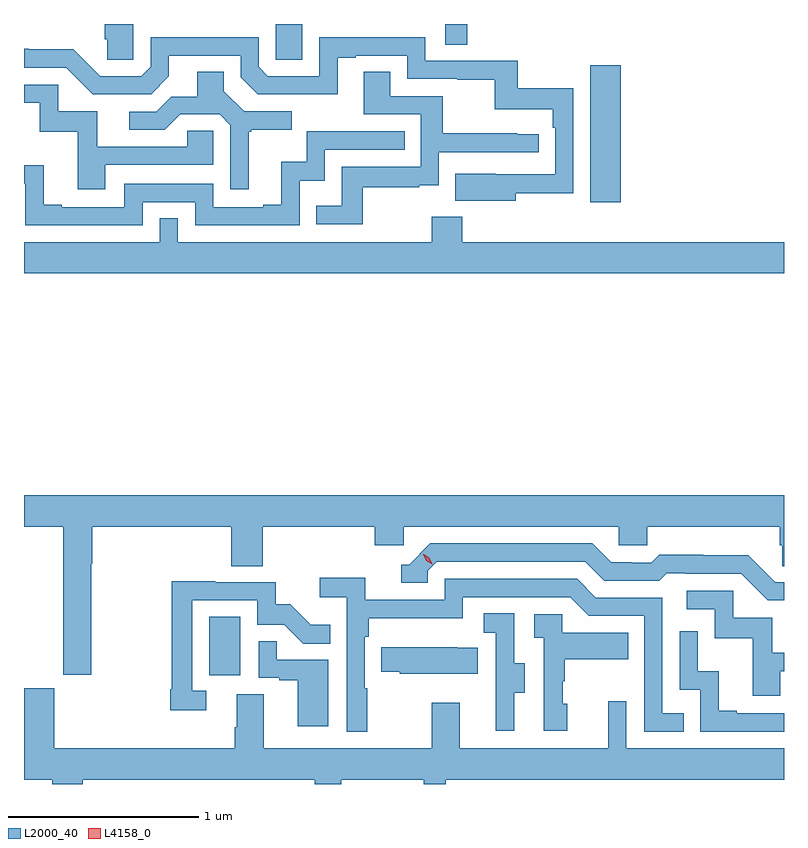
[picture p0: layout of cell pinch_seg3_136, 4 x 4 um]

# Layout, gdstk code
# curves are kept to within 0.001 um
import gdstk
lib = gdstk.Library(unit=1e-6, precision=1e-09)
def R(c, l, rs):  # rectangles x0, y0, x1, y1
    for r in rs: c.add(gdstk.rectangle(r[:2], r[2:], *l))
def P(c, l, *ps):  # polygons
    for p in ps: c.add(gdstk.Polygon(p, *l))
L2000_40 = (2000, 40)
L4158_0 = (4158, 0)

pinch_seg3_136 = lib.new_cell('pinch_seg3_136')
R(pinch_seg3_136, L2000_40, [(1117.478,718.782,1117.642,719.089), (1119.485,721.272,1119.646,721.993), (1117.83,722.02,1117.969,722.209), (1118.721,722.101,1118.837,722.209)])
P(pinch_seg3_136, L2000_40, [(1117.08,722.209),(1116.929,722.209),(1116.929,722.13),(1116.943,722.13),(1116.943,722.02),(1117.08,722.02)],
  [(1119.091,721.318),(1119.396,721.318),(1119.396,721.87),(1119.103,721.87),(1119.103,722.016),(1118.616,722.016),(1118.616,722.139),(1118.058,722.139),(1118.058,721.935),(1117.788,721.935),(1117.74,721.983),(1117.74,722.139),(1117.17,722.139),(1117.17,721.983),(1117.122,721.935),(1116.906,721.935),(1116.764,722.077),(1116.528,722.077),(1116.528,722.08),(1116.504,722.08),(1116.504,721.98),(1116.726,721.98),(1116.867,721.839),(1117.173,721.839),(1117.267,721.933),(1117.267,722.043),(1117.644,722.043),(1117.644,721.929),(1117.734,721.839),(1118.155,721.838),(1118.155,722.031),(1118.251,722.031),(1118.251,722.043),(1118.52,722.043),(1118.52,721.92),(1118.785,721.92),(1118.785,721.915),(1118.982,721.915),(1118.982,721.76),(1119.287,721.76),(1119.287,721.664),(1119.3,721.664),(1119.3,721.419),(1118.773,721.42),(1118.773,721.28),(1119.091,721.28)],
  [(1118.287,721.35),(1118.585,721.35),(1118.585,721.361),(1118.688,721.361),(1118.688,721.533),(1119.214,721.533),(1119.214,721.629),(1119.101,721.629),(1119.101,721.634),(1118.708,721.634),(1118.708,721.83),(1118.431,721.83),(1118.431,721.958),(1118.291,721.958),(1118.291,721.734),(1118.592,721.734),(1118.592,721.458),(1118.176,721.458),(1118.176,721.252),(1118.041,721.252),(1118.041,721.155),(1118.287,721.155)],
  [(1117.687,721.641),(1117.699,721.641),(1117.699,721.652),(1117.912,721.652),(1117.912,721.749),(1117.662,721.749),(1117.555,721.856),(1117.555,721.958),(1117.415,721.958),(1117.415,721.826),(1117.28,721.826),(1117.2,721.746),(1117.059,721.746),(1117.059,721.653),(1117.246,721.653),(1117.327,721.734),(1117.533,721.734),(1117.59,721.677),(1117.59,721.338),(1117.687,721.338)],
  [(1116.931,721.467),(1117.5,721.467),(1117.5,721.647),(1117.363,721.647),(1117.363,721.563),(1116.889,721.563),(1116.889,721.749),(1116.684,721.749),(1116.684,721.89),(1116.504,721.89),(1116.504,721.794),(1116.588,721.794),(1116.588,721.641),(1116.787,721.641),(1116.787,721.338),(1116.931,721.338)],
  [(1117.128,721.272),(1117.404,721.272),(1117.404,721.149),(1117.956,721.149),(1117.956,721.385),(1118.088,721.385),(1118.088,721.548),(1118.507,721.548),(1118.507,721.644),(1117.992,721.644),(1117.992,721.483),(1117.859,721.483),(1117.859,721.258),(1117.763,721.258),(1117.763,721.245),(1117.5,721.245),(1117.5,721.368),(1117.032,721.368),(1117.032,721.245),(1116.703,721.245),(1116.703,721.258),(1116.608,721.258),(1116.608,721.466),(1116.504,721.466),(1116.504,721.368),(1116.51,721.368),(1116.51,721.149),(1117.128,721.149)],
  [(1120.504,721.06),(1118.81,721.06),(1118.81,721.195),(1118.65,721.195),(1118.65,721.06),(1117.314,721.06),(1117.314,721.187),(1117.218,721.187),(1117.218,721.06),(1116.504,721.06),(1116.504,720.896),(1120.504,720.896)],
  [(1116.858,719.368),(1116.863,719.368),(1116.863,719.564),(1117.595,719.564),(1117.595,719.356),(1117.76,719.356),(1117.76,719.564),(1118.351,719.564),(1118.351,719.466),(1118.502,719.466),(1118.502,719.564),(1119.633,719.564),(1119.633,719.466),(1119.783,719.466),(1119.783,719.564),(1120.481,719.564),(1120.481,719.466),(1120.495,719.466),(1120.495,719.356),(1120.504,719.356),(1120.504,719.728),(1116.504,719.728),(1116.504,719.564),(1116.71,719.564),(1116.71,718.785),(1116.858,718.785)],
  [(1120.504,719.271),(1120.458,719.271),(1120.316,719.413),(1120.08,719.413),(1120.08,719.416),(1119.847,719.416),(1119.805,719.373),(1119.702,719.373),(1119.702,719.376),(1119.595,719.376),(1119.496,719.475),(1118.643,719.475),(1118.532,719.364),(1118.489,719.364),(1118.489,719.268),(1118.628,719.268),(1118.628,719.331),(1118.676,719.379),(1119.459,719.379),(1119.558,719.28),(1119.847,719.28),(1119.886,719.319),(1119.985,719.319),(1119.985,719.316),(1120.278,719.316),(1120.419,719.175),(1120.504,719.175)],
  [(1118.311,718.712),(1118.298,718.712),(1118.298,718.985),(1118.318,718.985),(1118.318,719.081),(1118.814,719.081),(1118.814,719.193),(1119.378,719.193),(1119.477,719.094),(1119.768,719.094),(1119.768,718.485),(1119.977,718.485),(1119.977,718.581),(1119.864,718.581),(1119.864,719.19),(1119.514,719.19),(1119.415,719.289),(1118.718,719.289),(1118.718,719.178),(1118.3,719.178),(1118.3,719.294),(1118.061,719.294),(1118.061,719.192),(1118.202,719.192),(1118.202,718.485),(1118.311,718.485)],
  [(1117.462,718.701),(1117.389,718.701),(1117.389,719.175),(1117.731,719.175),(1117.731,719.046),(1117.875,719.046),(1117.973,718.948),(1118.117,718.948),(1118.117,719.047),(1118.013,719.047),(1117.906,719.154),(1117.83,719.154),(1117.83,719.271),(1117.511,719.271),(1117.511,719.276),(1117.281,719.276),(1117.281,718.708),(1117.273,718.708),(1117.273,718.596),(1117.462,718.596)],
  [(1120.483,718.803),(1120.504,718.803),(1120.504,718.899),(1120.441,718.899),(1120.441,719.085),(1120.236,719.085),(1120.236,719.226),(1119.993,719.226),(1119.993,719.13),(1120.14,719.13),(1120.14,718.977),(1120.339,718.977),(1120.339,718.674),(1120.483,718.674)],
  [(1119.085,718.69),(1119.139,718.69),(1119.139,718.845),(1119.084,718.845),(1119.084,719.108),(1118.925,719.108),(1118.925,719.005),(1118.988,719.005),(1118.988,718.701),(1118.987,718.701),(1118.987,718.488),(1119.085,718.488)],
  [(1119.364,718.632),(1119.339,718.632),(1119.339,718.751),(1119.349,718.751),(1119.349,718.865),(1119.683,718.865),(1119.683,719.005),(1119.336,719.005),(1119.336,719.103),(1119.189,719.103),(1119.189,718.979),(1119.24,718.979),(1119.24,718.488),(1119.364,718.488)],
  [(1120.504,718.581),(1120.255,718.581),(1120.255,718.594),(1120.16,718.594),(1120.16,718.802),(1120.05,718.802),(1120.05,719.014),(1119.954,719.014),(1119.954,718.704),(1120.062,718.704),(1120.062,718.485),(1120.504,718.485)],
  [(1118.104,718.863),(1117.835,718.863),(1117.835,718.961),(1117.74,718.961),(1117.74,718.767),(1117.847,718.767),(1117.847,718.755),(1117.946,718.755),(1117.946,718.512),(1118.104,718.512)],
  [(1118.891,718.927),(1118.783,718.927),(1118.783,718.93),(1118.383,718.93),(1118.383,718.801),(1118.481,718.801),(1118.481,718.79),(1118.891,718.79)],
  [(1116.812,718.232),(1118.033,718.232),(1118.033,718.209),(1118.173,718.209),(1118.173,718.232),(1118.607,718.232),(1118.607,718.209),(1118.723,718.209),(1118.723,718.232),(1120.504,718.232),(1120.504,718.396),(1119.675,718.396),(1119.675,718.645),(1119.578,718.645),(1119.578,718.396),(1118.797,718.396),(1118.797,718.636),(1118.65,718.636),(1118.65,718.396),(1117.765,718.396),(1117.765,718.682),(1117.625,718.682),(1117.625,718.508),(1117.613,718.508),(1117.613,718.396),(1116.664,718.396),(1116.664,718.713),(1116.504,718.713),(1116.504,718.232),(1116.652,718.232),(1116.652,718.209),(1116.812,718.209)])
P(pinch_seg3_136, L4158_0, [(1118.652,719.366),(1118.622,719.385),(1118.606,719.418),(1118.606,719.418),(1118.607,719.418),(1118.637,719.399),(1118.653,719.366),(1118.653,719.366)])

lib.write_gds('pinch_seg3_136.gds')
